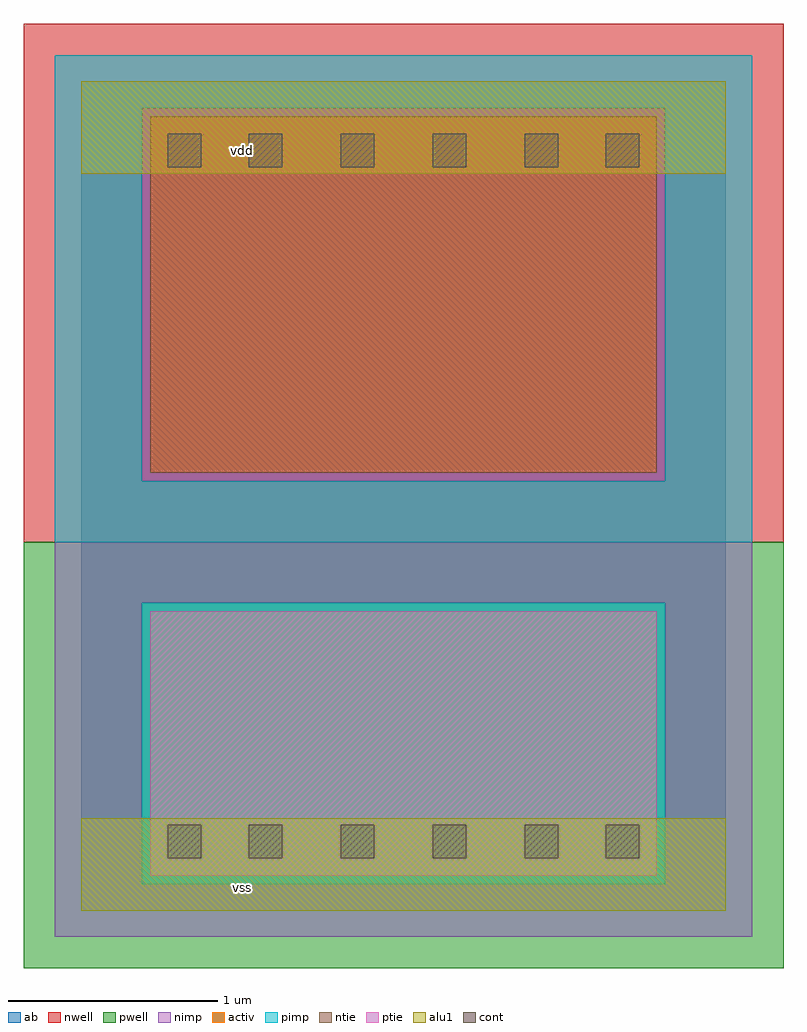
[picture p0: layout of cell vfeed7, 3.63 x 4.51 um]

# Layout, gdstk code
import gdstk
lib = gdstk.Library(unit=1e-6, precision=2.5e-09)
def R(c, l, rs):  # rectangles x0, y0, x1, y1
    for r in rs: c.add(gdstk.rectangle(r[:2], r[2:], *l))
def A(c, l, x, y, w, h, nx, ny, dx, dy):  # array of equal rectangles
    R(c, l, [(x+i*dx, y+j*dy, x+i*dx+w, y+j*dy+h) for i in range(nx) for j in range(ny)])
ntie = (5, 0)
ptie = (6, 0)
cont = (25, 0)
pwell = (41, 0)
nwell = (42, 0)
activ = (43, 0)
pimp = (44, 0)
nimp = (45, 0)
alu1 = (49, 0)
ab = (63, 0)

vfeed7 = lib.new_cell('vfeed7')
R(vfeed7, ntie, [(0.33,2.09,2.75,3.795)])
R(vfeed7, ptie, [(0.33,0.165,2.75,1.43)])
A(vfeed7, cont, 0.8, 0.25, 0.16, 0.16, 4, 2, 0.44, 3.3)
R(vfeed7, cont, [(0.415,0.25,0.575,0.41), (2.505,0.25,2.665,0.41), (0.415,3.55,0.575,3.71), (2.505,3.55,2.665,3.71)])
R(vfeed7, pwell, [(-0.275,-0.275,3.355,1.76)])
R(vfeed7, nwell, [(-0.275,1.76,3.355,4.235)])
R(vfeed7, activ, [(0.33,0.165,2.75,1.43), (0.33,2.09,2.75,3.795)])
R(vfeed7, pimp, [(0.29,0.125,2.79,1.47), (-0.125,1.76,3.205,2.05), (-0.125,2.05,0.29,3.835), (2.79,2.05,3.205,3.835), (-0.125,3.835,3.205,4.085)])
R(vfeed7, nimp, [(-0.125,-0.125,3.205,0.125), (-0.125,0.125,0.29,1.47), (2.79,0.125,3.205,1.47), (-0.125,1.47,3.205,1.76), (0.29,2.05,2.79,3.835)])
R(vfeed7, alu1, [(0,0,3.08,0.44), (0,3.52,3.08,3.96)])
R(vfeed7, ab, [(0,0,3.08,3.96)])
vfeed7.add(gdstk.Label('vss', (0.77,0.11), layer=49, texttype=0))
vfeed7.add(gdstk.Label('vdd', (0.77,3.63), layer=49, texttype=0))

lib.write_gds('vfeed7.gds')
